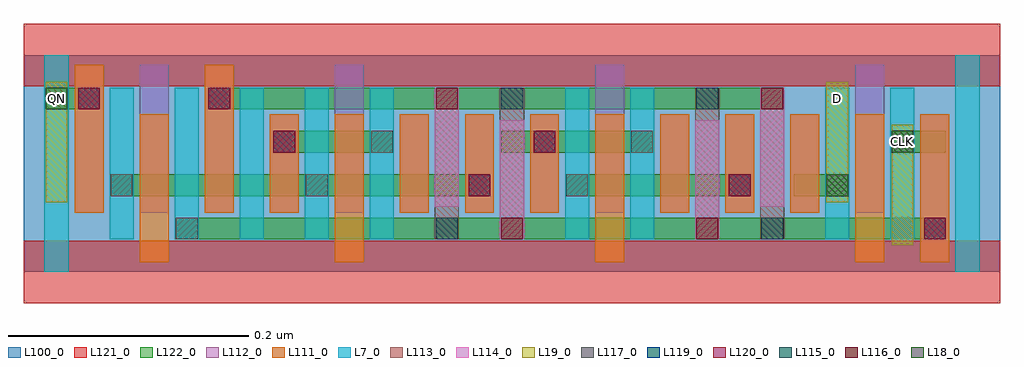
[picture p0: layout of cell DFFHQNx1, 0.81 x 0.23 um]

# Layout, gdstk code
import gdstk
lib = gdstk.Library(unit=1e-6, precision=2.5e-10)
def R(c, l, rs):  # rectangles x0, y0, x1, y1
    for r in rs: c.add(gdstk.rectangle(r[:2], r[2:], *l))
def A(c, l, x, y, w, h, nx, ny, dx, dy):  # array of equal rectangles
    R(c, l, [(x+i*dx, y+j*dy, x+i*dx+w, y+j*dy+h) for i in range(nx) for j in range(ny)])
L7_0 = (7, 0)
L18_0 = (18, 0)
L19_0 = (19, 0)
L100_0 = (100, 0)
L111_0 = (111, 0)
L112_0 = (112, 0)
L113_0 = (113, 0)
L114_0 = (114, 0)
L115_0 = (115, 0)
L116_0 = (116, 0)
L117_0 = (117, 0)
L119_0 = (119, 0)
L120_0 = (120, 0)
L121_0 = (121, 0)
L122_0 = (122, 0)

dffhqnx1 = lib.new_cell('DFFHQNx1')
A(dffhqnx1, L7_0, 0.071, 0.027, 0.02, 0.126, 5, 1, 0.054, 0)
R(dffhqnx1, L7_0, [(0.017,0,0.037,0.18), (0.773,0,0.793,0.18), (0.449,0.027,0.469,0.153), (0.503,0.027,0.523,0.153), (0.665,0.027,0.685,0.153), (0.719,0.027,0.739,0.153)])
R(dffhqnx1, L18_0, [(0.666,0.063,0.684,0.081), (0.72,0.099,0.738,0.117), (0.018,0.135,0.036,0.153)])
R(dffhqnx1, L19_0, [(0.72,0.022,0.738,0.122), (0.018,0.058,0.036,0.158), (0.666,0.058,0.684,0.158)])
R(dffhqnx1, L100_0, [(0,0,0.81,0.18)])
A(dffhqnx1, L111_0, 0.258, 0.008, 0.024, 0.123, 3, 1, 0.216, 0)
A(dffhqnx1, L111_0, 0.312, 0.049, 0.024, 0.082, 3, 1, 0.054, 0)
A(dffhqnx1, L111_0, 0.528, 0.049, 0.024, 0.082, 3, 1, 0.054, 0)
R(dffhqnx1, L111_0, [(0.096,0.008,0.12,0.131), (0.744,0.008,0.768,0.131), (0.042,0.049,0.066,0.172), (0.15,0.049,0.174,0.172), (0.204,0.049,0.228,0.131)])
A(dffhqnx1, L112_0, 0.042, 0.049, 0.024, 0.123, 3, 1, 0.054, 0)
A(dffhqnx1, L112_0, 0.258, 0.049, 0.024, 0.123, 3, 1, 0.216, 0)
A(dffhqnx1, L112_0, 0.312, 0.049, 0.024, 0.082, 3, 1, 0.054, 0)
A(dffhqnx1, L112_0, 0.528, 0.049, 0.024, 0.082, 3, 1, 0.054, 0)
R(dffhqnx1, L112_0, [(0.744,0.008,0.768,0.131), (0.204,0.049,0.228,0.131)])
R(dffhqnx1, L113_0, [(0.341,0.027,0.361,0.153), (0.395,0.027,0.415,0.153), (0.557,0.027,0.577,0.153), (0.611,0.027,0.631,0.153)])
R(dffhqnx1, L114_0, [(0.395,0.027,0.415,0.126), (0.557,0.027,0.577,0.126), (0.341,0.054,0.361,0.153), (0.611,0.054,0.631,0.153)])
R(dffhqnx1, L115_0, [(0.342,0.027,0.36,0.045), (0.612,0.027,0.63,0.045), (0.396,0.135,0.414,0.153), (0.558,0.135,0.576,0.153)])
R(dffhqnx1, L116_0, [(0.396,0.027,0.414,0.045), (0.558,0.027,0.576,0.045), (0.342,0.135,0.36,0.153), (0.612,0.135,0.63,0.153)])
A(dffhqnx1, L117_0, 0.234, 0.063, 0.018, 0.018, 3, 1, 0.216, 0)
A(dffhqnx1, L117_0, 0.288, 0.099, 0.018, 0.018, 3, 1, 0.216, 0)
R(dffhqnx1, L117_0, [(0.126,0.027,0.144,0.045), (0.072,0.063,0.09,0.081)])
R(dffhqnx1, L119_0, [(0.747,0.027,0.765,0.045), (0.369,0.063,0.387,0.081), (0.585,0.063,0.603,0.081), (0.207,0.099,0.225,0.117), (0.423,0.099,0.441,0.117), (0.045,0.135,0.063,0.153), (0.153,0.135,0.171,0.153)])
R(dffhqnx1, L120_0, [(0.747,0.027,0.765,0.045), (0.369,0.063,0.387,0.081), (0.585,0.063,0.603,0.081), (0.207,0.099,0.225,0.117), (0.423,0.099,0.441,0.117), (0.045,0.135,0.063,0.153), (0.153,0.135,0.171,0.153)])
R(dffhqnx1, L121_0, [(0,-0.026,0.81,0.026), (0,0.154,0.81,0.206)])
R(dffhqnx1, L122_0, [(0.126,0.027,0.765,0.045), (0.072,0.063,0.387,0.081), (0.45,0.063,0.603,0.081), (0.639,0.063,0.684,0.081), (0.207,0.099,0.306,0.117), (0.396,0.099,0.522,0.117), (0.72,0.099,0.765,0.117), (0.018,0.135,0.063,0.153), (0.153,0.135,0.63,0.153)])
dffhqnx1.add(gdstk.Label('QN', (0.027,0.144), layer=19, texttype=251))
dffhqnx1.add(gdstk.Label('D', (0.675,0.144), layer=19, texttype=251))
dffhqnx1.add(gdstk.Label('CLK', (0.729,0.108), layer=19, texttype=251))

lib.write_gds('DFFHQNx1.gds')
